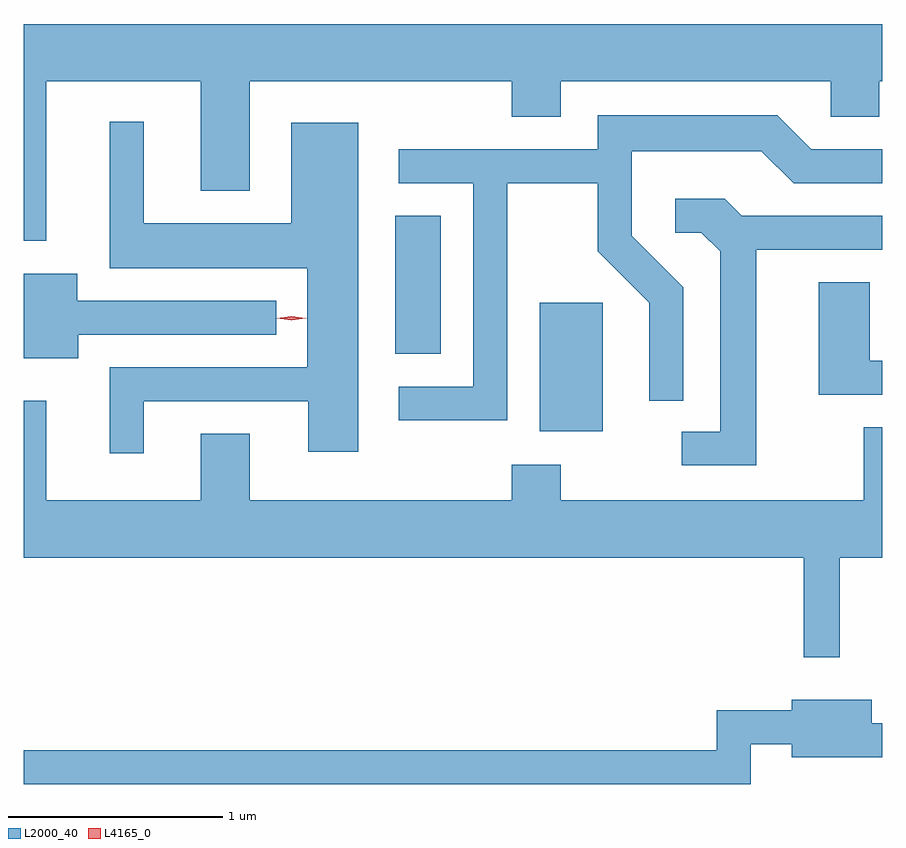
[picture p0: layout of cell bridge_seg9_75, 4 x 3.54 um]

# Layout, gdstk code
import gdstk
lib = gdstk.Library(unit=1e-6, precision=1e-09)
def R(c, l, rs):  # rectangles x0, y0, x1, y1
    for r in rs: c.add(gdstk.rectangle(r[:2], r[2:], *l))
def P(c, l, *ps):  # polygons
    for p in ps: c.add(gdstk.Polygon(p, *l))
L2000_40 = (2000, 40)
L4165_0 = (4165, 0)

bridge_seg9_75 = lib.new_cell('bridge_seg9_75')
R(bridge_seg9_75, L2000_40, [(1798.831,1979.086,1799.124,1979.684), (1798.156,1979.446,1798.369,1980.089)])
P(bridge_seg9_75, L2000_40, [(1796.529,1980.716),(1797.251,1980.716),(1797.251,1980.206),(1797.479,1980.206),(1797.479,1980.716),(1798.701,1980.716),(1798.701,1980.551),(1798.929,1980.551),(1798.929,1980.716),(1800.186,1980.716),(1800.186,1980.551),(1800.414,1980.551),(1800.414,1980.716),(1800.426,1980.716),(1800.426,1980.984),(1796.426,1980.984),(1796.426,1979.973),(1796.529,1979.973)],
  [(1798.679,1980.241),(1799.101,1980.241),(1799.101,1979.924),(1799.341,1979.684),(1799.341,1979.228),(1799.499,1979.228),(1799.499,1979.757),(1799.259,1979.997),(1799.259,1980.391),(1799.864,1980.391),(1800.014,1980.241),(1800.426,1980.241),(1800.426,1980.399),(1800.097,1980.399),(1799.937,1980.559),(1799.101,1980.559),(1799.101,1980.399),(1798.173,1980.399),(1798.173,1980.241),(1798.521,1980.241),(1798.521,1979.294),(1798.173,1979.294),(1798.173,1979.136),(1798.679,1979.136)],
  [(1796.984,1979.226),(1797.751,1979.226),(1797.751,1978.991),(1797.984,1978.991),(1797.984,1980.524),(1797.671,1980.524),(1797.671,1980.054),(1796.984,1980.054),(1796.984,1980.528),(1796.826,1980.528),(1796.826,1979.846),(1797.746,1979.846),(1797.746,1979.384),(1796.826,1979.384),(1796.826,1978.983),(1796.984,1978.983)],
  [(1799.839,1979.931),(1800.426,1979.931),(1800.426,1980.089),(1799.772,1980.089),(1799.692,1980.169),(1799.463,1980.169),(1799.463,1980.011),(1799.584,1980.011),(1799.671,1979.924),(1799.671,1979.084),(1799.493,1979.084),(1799.493,1978.926),(1799.839,1978.926)],
  [(1796.679,1979.536),(1797.603,1979.536),(1797.603,1979.694),(1796.674,1979.694),(1796.674,1979.819),(1796.426,1979.819),(1796.426,1979.426),(1796.679,1979.426)],
  [(1800.426,1979.414),(1800.369,1979.414),(1800.369,1979.779),(1800.131,1979.779),(1800.131,1979.256),(1800.426,1979.256)],
  [(1800.229,1978.496),(1800.426,1978.496),(1800.426,1979.104),(1800.341,1979.104),(1800.341,1978.764),(1798.929,1978.764),(1798.929,1978.929),(1798.701,1978.929),(1798.701,1978.764),(1797.479,1978.764),(1797.479,1979.074),(1797.251,1979.074),(1797.251,1978.764),(1796.529,1978.764),(1796.529,1979.228),(1796.426,1979.228),(1796.426,1978.496),(1800.061,1978.496),(1800.061,1978.033),(1800.229,1978.033)],
  [(1799.814,1977.626),(1800.006,1977.626),(1800.006,1977.566),(1800.426,1977.566),(1800.426,1977.724),(1800.379,1977.724),(1800.379,1977.834),(1800.006,1977.834),(1800.006,1977.784),(1799.656,1977.784),(1799.656,1977.599),(1796.426,1977.599),(1796.426,1977.441),(1799.814,1977.441)])
P(bridge_seg9_75, L4165_0, [(1797.673,1979.602),(1797.604,1979.612),(1797.603,1979.612),(1797.604,1979.613),(1797.673,1979.622),(1797.742,1979.613),(1797.743,1979.612),(1797.742,1979.612)],
  [(1797.674,1979.602),(1797.607,1979.612),(1797.607,1979.612),(1797.607,1979.613),(1797.674,1979.622),(1797.74,1979.613),(1797.74,1979.612),(1797.74,1979.612)])

lib.write_gds('bridge_seg9_75.gds')
